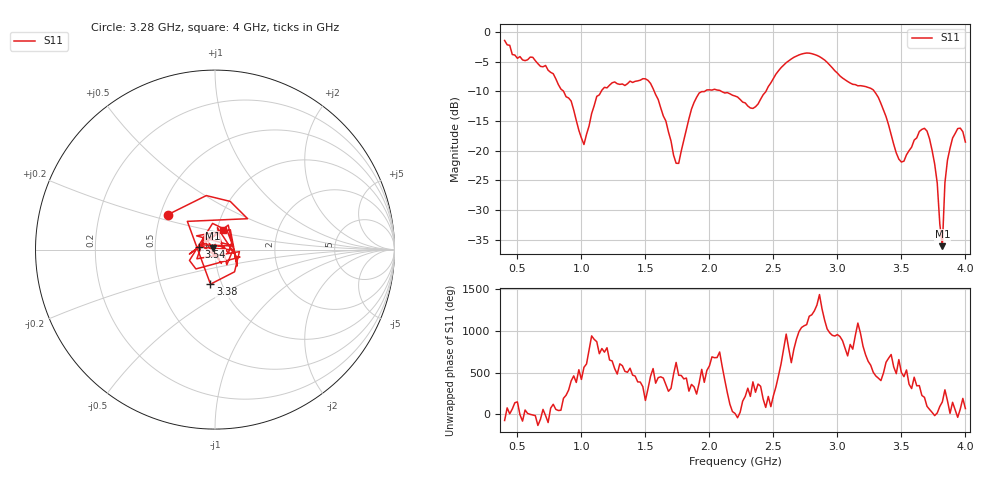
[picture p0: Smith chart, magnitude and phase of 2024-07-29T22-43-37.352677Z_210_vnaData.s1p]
!Created with skrf (http://scikit-rf.org).
# Hz S RI R 50.0
!freq ReS11 ImS11
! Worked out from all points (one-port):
!   181 points, 400 MHz to 4 GHz, reference 50 ohm
!   lowest |S11| = -36.1 dB at 3.82 GHz (marker M1), VSWR 1.03, Z = 48.7 + j0.795 ohm
!   |S11| at or under -10 dB: 1.57 GHz to 1.961 GHz (391.5 MHz wide, 22.2 % of centre); 2.095 GHz to 2.441 GHz (345.8 MHz wide, 15.2 % of centre); 3.289 GHz to end of sweep (the widest 3 of 4)
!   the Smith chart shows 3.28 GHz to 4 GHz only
!   S11 on the Smith chart (normalised r, x): 3.28 GHz: 0.55, +0.24; 3.38 GHz: 0.88, -0.35; 3.54 GHz: 0.83, +0.02; 4 GHz: 1.06, +0.24
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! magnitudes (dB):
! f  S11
! 400 MHz  -1.4
! 720 MHz  -5.6
! 860 MHz  -9.9
! 920 MHz  -11.6
! 1.02 GHz  -19.0
! 1.12 GHz  -10.8
! 1.3 GHz  -8.8
! 1.54 GHz  -8.6
! 1.76 GHz  -22.1
! 1.86 GHz  -13.0
! 1.92 GHz  -10.3
! 2.2 GHz  -10.8
! 2.36 GHz  -12.6
! 2.66 GHz  -4.2
! 2.84 GHz  -3.9
! 3.1 GHz  -8.6
! 3.28 GHz  -9.7
! 3.38 GHz  -14.2
! 3.48 GHz  -21.4
! 3.54 GHz  -20.7
! 3.56 GHz  -20.0
! 3.7 GHz  -16.7
! 3.78 GHz  -25.5
! 3.82 GHz  -36.1
! 3.84 GHz  -25.4
! 3.88 GHz  -19.6
! 3.94 GHz  -16.3
! 4 GHz  -18.5
